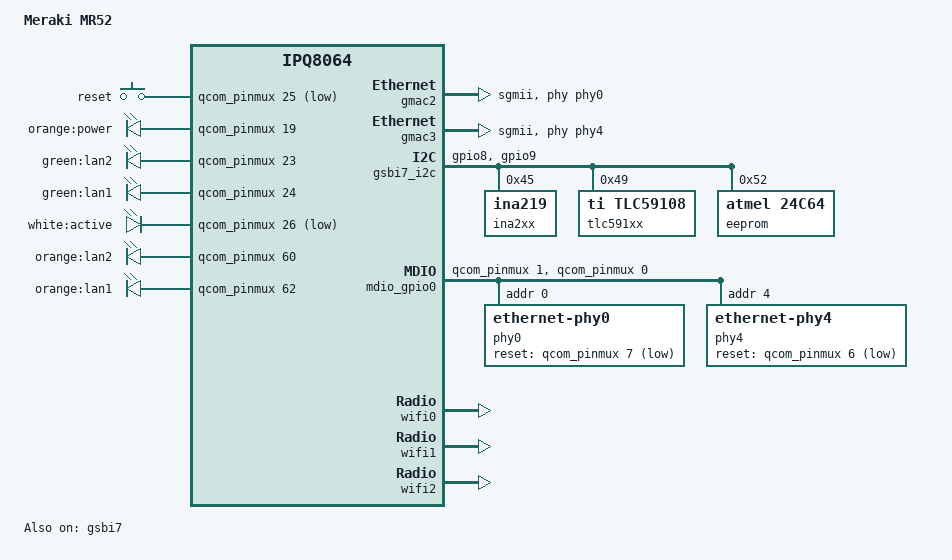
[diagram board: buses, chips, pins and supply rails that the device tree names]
// SPDX-License-Identifier: GPL-2.0 OR MIT

#include "qcom-ipq8068-cryptid-common.dtsi"

#include <dt-bindings/input/input.h>

/ {
	model = "Meraki MR52";
	compatible = "meraki,mr52", "qcom,ipq8064";

	aliases {
		serial1 = &gsbi1_serial;
		mdio-gpio0 = &mdio_gpio0;
		ethernet0 = &gmac2;
		ethernet1 = &gmac3;

		led-boot = &led_active;
		led-failsafe = &led_power;
		led-running = &led_active;
		led-upgrade = &led_active;
	};

	keys {
		compatible = "gpio-keys";
		pinctrl-0 = <&button_pins>;
		pinctrl-names = "default";

		reset {
			label = "reset";
			gpios = <&qcom_pinmux 25 GPIO_ACTIVE_LOW>;
			linux,code = <KEY_RESTART>;
			debounce-interval = <60>;
			wakeup-source;
		};
	};

	leds {
		compatible = "gpio-leds";
		pinctrl-0 = <&led_pins>;
		pinctrl-names = "default";

		led_power: power {
			label = "orange:power";
			gpios = <&qcom_pinmux 19 GPIO_ACTIVE_HIGH>;
		};

		lan2_green {
			label = "green:lan2";
			gpios = <&qcom_pinmux 23 GPIO_ACTIVE_HIGH>;
		};

		lan1_green {
			label = "green:lan1";
			gpios = <&qcom_pinmux 24 GPIO_ACTIVE_HIGH>;
		};

		led_active: active {
			label = "white:active";
			gpios = <&qcom_pinmux 26 GPIO_ACTIVE_LOW>;
		};

		lan2_orange {
			label = "orange:lan2";
			gpios = <&qcom_pinmux 60 GPIO_ACTIVE_HIGH>;
		};

		lan1_orange {
			label = "orange:lan1";
			gpios = <&qcom_pinmux 62 GPIO_ACTIVE_HIGH>;
		};
	};
};

&gmac2 {
	status = "okay";

	qcom,id = <2>;
	mdiobus = <&mdio0>;

	phy-mode = "sgmii";
	phy-handle = <&phy0>;

	nvmem-cells = <&mac_address>;
	nvmem-cell-names = "mac-address";
};

&gmac3 {
	status = "okay";

	qcom,id = <3>;
	mdiobus = <&mdio_gpio0>;

	phy-mode = "sgmii";
	phy-handle = <&phy4>;

	nvmem-cells = <&mac_address>;
	nvmem-cell-names = "mac-address";
	mac-address-increment = <1>;
};

&gsbi7 {
	status = "okay";
	qcom,mode = <GSBI_PROT_I2C>;
};

&gsbi7_i2c {
	status = "okay";

	pinctrl-0 = <&i2c_pins>;
	pinctrl-names = "default";

	ina2xx@45 {
		compatible = "ina219";
		shunt-resistor = <80000>;
		reg = <0x45>;
	};

	tlc591xx@49 {
		#address-cells = <1>;
		#size-cells = <0>;
		compatible = "ti,tlc59108";
		reg = <0x49>;

		red@0 {
			label = "red:user";
			reg = <0x0>;
		};

		green@1 {
			label = "green:user";
			reg = <0x1>;
		};

		blue@2 {
			label = "blue:user";
			reg = <0x2>;
		};
	};

	eeprom@52 {
		compatible = "atmel,24c64";
		pagesize = <32>;
		reg = <0x52>;
		read-only;
		#address-cells = <1>;
		#size-cells = <1>;

		mac_address: mac-address@66 {
			reg = <0x66 0x6>;
		};
	};
};

&qcom_pinmux {
	i2c_pins: i2c_pins {
		mux {
			pins = "gpio8", "gpio9";
			function = "gsbi7";
			drive-strength = <2>;
			bias-pull-up;
			input;
		};
	};

	led_pins: led_pins {
		mux {
			pins = "gpio19", "gpio26";
			function = "gpio";
			drive-strength = <12>;
			bias-pull-down;
			output-low;
		};
	};

	button_pins: button_pins {
		mux {
			pins = "gpio25";
			function = "gpio";
			drive-strength = <2>;
			bias-pull-up;
			input;
		};
	};
};

&soc {
	mdio_gpio0: mdio {
		compatible = "virtual,mdio-gpio";
		#address-cells = <1>;
		#size-cells = <0>;

		status = "okay";

		pinctrl-0 = <&mdio0_pins_active>, <&phy_active>;
		pinctrl-names = "default";

		gpios = <&qcom_pinmux 1 GPIO_ACTIVE_HIGH
			 &qcom_pinmux 0 GPIO_ACTIVE_HIGH>;

		phy0: ethernet-phy0 {
			reg = <0>;
			reset-gpios = <&qcom_pinmux 7 GPIO_ACTIVE_LOW>;
			reset-assert-us = <24000>;
		};

		phy4: ethernet-phy4 {
			reg = <4>;
			reset-gpios = <&qcom_pinmux 6 GPIO_ACTIVE_LOW>;
			reset-assert-us = <24000>;
		};
	};
};

&wifi0 {
	nvmem-cells = <&mac_address>;
	nvmem-cell-names = "mac-address";
	mac-address-increment = <4>;
};

&wifi1 {
	nvmem-cells = <&mac_address>;
	nvmem-cell-names = "mac-address";
	mac-address-increment = <3>;
};

&wifi2 {
	nvmem-cells = <&mac_address>;
	nvmem-cell-names = "mac-address";
	mac-address-increment = <2>;
};
